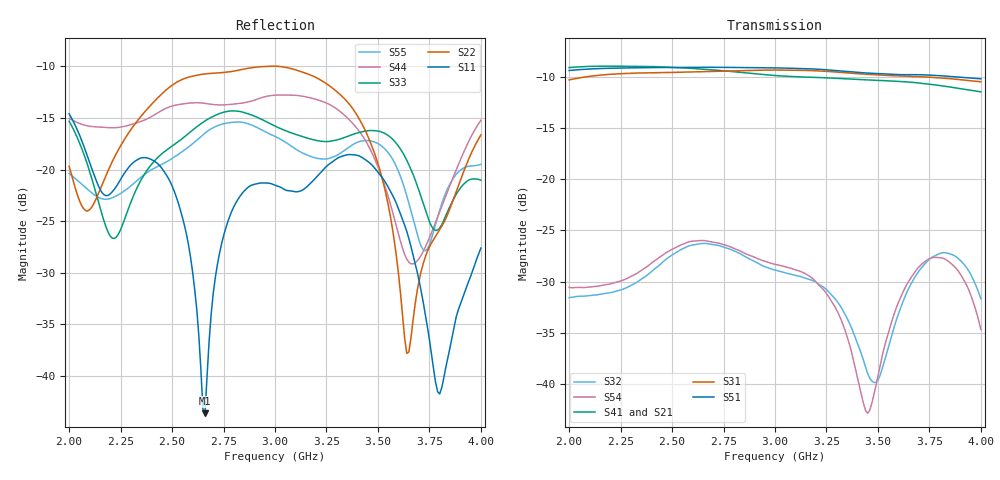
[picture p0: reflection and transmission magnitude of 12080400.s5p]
! Created with skrf 1.8.0 (http://scikit-rf.org).
# Hz S RI R 50.0
!freq ReS11 ImS11 ReS12 ImS12 ReS13 ImS13
! ReS14 ImS14 ReS15 ImS15
! ReS21 ImS21 ReS22 ImS22 ReS23 ImS23
! ReS24 ImS24 ReS25 ImS25
! ReS31 ImS31 ReS32 ImS32 ReS33 ImS33
! ReS34 ImS34 ReS35 ImS35
! ReS41 ImS41 ReS42 ImS42 ReS43 ImS43
! ReS44 ImS44 ReS45 ImS45
! ReS51 ImS51 ReS52 ImS52 ReS53 ImS53
! ReS54 ImS54 ReS55 ImS55
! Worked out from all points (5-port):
!   201 points, 2 GHz to 4 GHz, reference 50 ohm
!   strongest paths, dB at 2 GHz, 2.5 GHz, 3 GHz, 3.5 GHz, 4 GHz:
!     S51: -9.4, -9.1, -9.1, -9.7, -10.2
!     S31: -10.3, -9.6, -9.4, -9.8, -10.5
!     S41: -9.1, -9.1, -9.9, -10.4, -11.5
!     S21: -9.7, -9.3, -10.0, -10.1, -11.1
!     S54: -30.6, -26.9, -28.3, -39.2, -34.7
!     S32: -31.6, -27.4, -28.9, -39.6, -31.7
!   lowest |S11| = -43.6 dB at 2.66 GHz (marker M1), VSWR 1.01, Z = 50.5 - j0.444 ohm
!   |S11| at or under -10 dB: start of sweep to end of sweep
